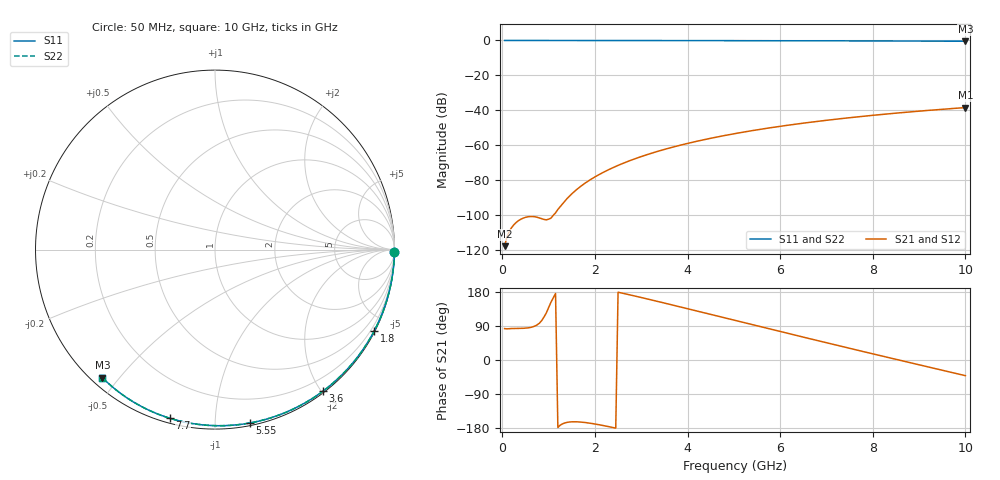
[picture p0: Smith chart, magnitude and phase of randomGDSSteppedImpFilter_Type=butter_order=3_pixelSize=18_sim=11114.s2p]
! freq	dB(S11)	phase(S11)	dB(S12)	phase(S12)
!  dB(S21)	phase(S21)	dB(S22)	phase(S22)
!S-par simulation data
#  GHz  S  DB  R 50
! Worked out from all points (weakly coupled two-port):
!   200 points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, 50 MHz to 10 GHz, reference 50 ohm
!   highest |S21| = -38.39 dB at 10 GHz (marker M1); lowest = -117.7 dB at 50 MHz (marker M2)
!   lowest |S11| = -0.4 dB at 10 GHz (marker M3), VSWR 39.16, Z = 1.54 - j22.6 ohm
!   |S11| at or under -10 dB: nowhere
!   |S22| runs from -0.4 to 0.0 dB; largest |S21 - S12| = 0
!   S11 on the Smith chart (normalised r, x): 50 MHz: open; 1.8 GHz: 0.04, -4.18; 3.6 GHz: 0.02, -2.02; 5.55 GHz: 0.02, -1.22; 7.7 GHz: 0.02, -0.77; 10 GHz: 0.03, -0.45
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0.05  -0.00 -0.8  -117.66 82.8  -117.66 82.8  -0.00 -0.8
0.9  -0.02 -13.6  -102.36 113.3  -102.36 113.3  -0.02 -13.6
1.75  -0.03 -26.2  -82.32 -164.4  -82.32 -164.4  -0.03 -26.2
1.8  -0.03 -26.9  -81.39 -165.2  -81.39 -165.2  -0.03 -26.9
1.85  -0.04 -27.6  -80.50 -166.0  -80.50 -166.0  -0.04 -27.6
1.9  -0.04 -28.4  -79.65 -166.9  -79.65 -166.9  -0.04 -28.4
2.05  -0.04 -30.6  -77.29 -170.0  -77.29 -170.0  -0.04 -30.6
2.25  -0.04 -33.5  -74.50 -174.7  -74.50 -174.7  -0.04 -33.5
2.45  -0.05 -36.4  -72.03 -179.8  -72.03 -179.8  -0.05 -36.4
2.65  -0.05 -39.2  -69.81 174.8  -69.81 174.8  -0.05 -39.2
3  -0.06 -44.2  -66.41 164.9  -66.41 164.9  -0.06 -44.2
3.4  -0.07 -49.8  -63.07 153.3  -63.07 153.3  -0.07 -49.8
3.6  -0.07 -52.6  -61.58 147.3  -61.58 147.3  -0.07 -52.6
4.3  -0.09 -62.2  -57.07 126.4  -57.07 126.4  -0.09 -62.2
5.05  -0.11 -72.1  -53.15 103.8  -53.15 103.8  -0.11 -72.1
5.55  -0.13 -78.6  -50.91 88.7  -50.91 88.7  -0.13 -78.6
6.1  -0.15 -85.6  -48.73 72.3  -48.73 72.3  -0.15 -85.6
6.7  -0.18 -93.0  -46.62 54.4  -46.62 54.4  -0.18 -93.0
7.7  -0.24 -104.9  -43.62 25.0  -43.62 25.0  -0.24 -104.9
8.35  -0.29 -112.5  -41.94 6.1  -41.94 6.1  -0.29 -112.5
9.15  -0.36 -121.7  -40.10 -17.0  -40.10 -17.0  -0.36 -121.7
10  -0.44 -131.3  -38.39 -41.3  -38.39 -41.3  -0.44 -131.3
